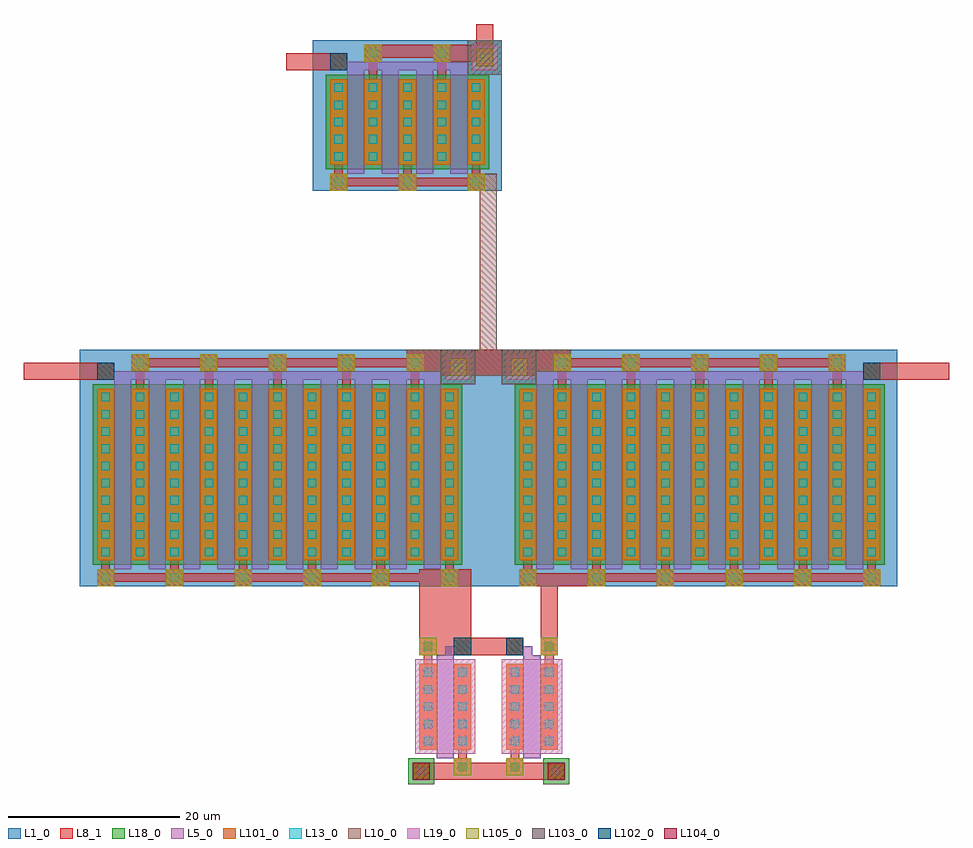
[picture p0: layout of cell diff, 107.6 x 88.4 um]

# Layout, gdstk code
from math import pi, radians
import gdstk
lib = gdstk.Library(unit=1e-6, precision=1e-07)
def R(c, l, rs):  # rectangles x0, y0, x1, y1
    for r in rs: c.add(gdstk.rectangle(r[:2], r[2:], *l))
def P(c, l, *ps):  # polygons
    for p in ps: c.add(gdstk.Polygon(p, *l))
L1_0 = (1, 0)
L5_0 = (5, 0)
L8_1 = (8, 1)
L10_0 = (10, 0)
L13_0 = (13, 0)
L18_0 = (18, 0)
L19_0 = (19, 0)
L101_0 = (101, 0)
L102_0 = (102, 0)
L103_0 = (103, 0)
L104_0 = (104, 0)
L105_0 = (105, 0)

dcont = lib.new_cell('dcont')
R(dcont, L8_1, [(-1,-1,1,1)])
R(dcont, L13_0, [(-0.5,-0.5,0.5,0.5)])
R(dcont, L101_0, [(-1,-1,1,1)])

via = lib.new_cell('Via')
R(via, L8_1, [(-1,-1,1,1)])
R(via, L10_0, [(-1,-1,1,1)])
R(via, L13_0, [(-0.5,-0.5,0.5,0.5)])
R(via, L105_0, [(-1,-1,1,1)])

dcont1 = lib.new_cell('dcont1')
R(dcont1, L8_1, [(-1,-1,1,1)])
R(dcont1, L13_0, [(-0.5,-0.5,0.5,0.5)])
R(dcont1, L101_0, [(-1,-1,1,1)])

nsubcont = lib.new_cell('nsubcont')
R(nsubcont, L1_0, [(-2,-2,2,2)])
R(nsubcont, L19_0, [(-1.5,-1.5,1.5,1.5)])
R(nsubcont, L103_0, [(-2,-2,2,2)])
nsubcont.add(gdstk.Reference(dcont1, (0,0)))

pch_2 = lib.new_cell('Pch$2')
R(pch_2, L1_0, [(-2,-1.5,20,16)])
R(pch_2, L5_0, [(0,0,2,2)])
R(pch_2, L8_1, [(0,0,2,2)])
P(pch_2, L8_1, [(4.5,-0.5),(4.5,3),(4,3),(4,13),(6,13),(6,3),(5.5,3),(5.5,0.5),(12.5,0.5),(12.5,3),(12,3),(12,13),(14,13),(14,3),(13.5,3),(13.5,-0.5)],
  [(0,3),(0,13),(0.5,13),(0.5,15.5),(17.5,15.5),(17.5,13),(18,13),(18,3),(16,3),(16,13),(16.5,13),(16.5,14.5),(9.5,14.5),(9.5,13),(10,13),(10,3),(8,3),(8,13),(8.5,13),(8.5,14.5),(1.5,14.5),(1.5,13),(2,13),(2,3)])
R(pch_2, L13_0, [(0.5,0.5,1.5,1.5)])
R(pch_2, L18_0, [(-0.5,2.5,18.5,13.5)])
R(pch_2, L102_0, [(0,0,2,2)])
pch_2.add(gdstk.FlexPath([(3,3),(3,13)], 2, ends="extended", simple_path=True, layer=5, datatype=0))  # L5_0
pch_2.add(gdstk.FlexPath([(7,3),(7,13)], 2, ends="extended", simple_path=True, layer=5, datatype=0))  # L5_0
pch_2.add(gdstk.FlexPath([(11,3),(11,13)], 2, ends="extended", simple_path=True, layer=5, datatype=0))  # L5_0
pch_2.add(gdstk.FlexPath([(15,3),(15,13)], 2, ends="extended", simple_path=True, layer=5, datatype=0))  # L5_0
pch_2.add(gdstk.FlexPath([(1,1.5),(2.5,1.5),(2.5,2)], 1, ends="flush", simple_path=True, layer=5, datatype=0))  # L5_0
pch_2.add(gdstk.FlexPath([(2,1.5),(8,1.5)], 1, ends="flush", simple_path=True, layer=5, datatype=0))  # L5_0
pch_2.add(gdstk.FlexPath([(6,1.5),(12,1.5)], 1, ends="flush", simple_path=True, layer=5, datatype=0))  # L5_0
pch_2.add(gdstk.FlexPath([(10,1.5),(16,1.5)], 1, ends="flush", simple_path=True, layer=5, datatype=0))  # L5_0
pch_2.add(gdstk.Reference(dcont, (1,4)))
pch_2.add(gdstk.Reference(dcont, (1,6)))
pch_2.add(gdstk.Reference(dcont, (1,8)))
pch_2.add(gdstk.Reference(dcont, (1,10)))
pch_2.add(gdstk.Reference(dcont, (1,12)))
pch_2.add(gdstk.Reference(dcont, (5,4)))
pch_2.add(gdstk.Reference(dcont, (5,6)))
pch_2.add(gdstk.Reference(dcont, (5,8)))
pch_2.add(gdstk.Reference(dcont, (5,10)))
pch_2.add(gdstk.Reference(dcont, (5,12)))
pch_2.add(gdstk.Reference(dcont, (9,4)))
pch_2.add(gdstk.Reference(dcont, (9,6)))
pch_2.add(gdstk.Reference(dcont, (9,8)))
pch_2.add(gdstk.Reference(dcont, (9,10)))
pch_2.add(gdstk.Reference(dcont, (9,12)))
pch_2.add(gdstk.Reference(dcont, (13,4)))
pch_2.add(gdstk.Reference(dcont, (13,6)))
pch_2.add(gdstk.Reference(dcont, (13,8)))
pch_2.add(gdstk.Reference(dcont, (13,10)))
pch_2.add(gdstk.Reference(dcont, (13,12)))
pch_2.add(gdstk.Reference(dcont, (17,4)))
pch_2.add(gdstk.Reference(dcont, (17,6)))
pch_2.add(gdstk.Reference(dcont, (17,8)))
pch_2.add(gdstk.Reference(dcont, (17,10)))
pch_2.add(gdstk.Reference(dcont, (17,12)))
pch_2.add(gdstk.Reference(via, (1,1)))
pch_2.add(gdstk.Reference(via, (1,15)))
pch_2.add(gdstk.Reference(via, (5,0)))
pch_2.add(gdstk.Reference(via, (9,15)))
pch_2.add(gdstk.Reference(via, (13,0)))
pch_2.add(gdstk.Reference(via, (17,15)))
pch_2.add(gdstk.Reference(nsubcont, (18,0.5)))
pch_2.add(gdstk.Reference(via, (18,0.5)))

pch_6 = lib.new_cell('Pch$6')
R(pch_6, L1_0, [(-2,-1.5,44,26)])
R(pch_6, L5_0, [(0,0,2,2)])
R(pch_6, L8_1, [(0,0,2,2)])
P(pch_6, L8_1, [(4.5,-0.5),(4.5,3),(4,3),(4,23),(6,23),(6,3),(5.5,3),(5.5,0.5),(12.5,0.5),(12.5,3),(12,3),(12,23),(14,23),(14,3),(13.5,3),(13.5,0.5),(20.5,0.5),(20.5,3),(20,3),(20,23),(22,23),(22,3),(21.5,3),(21.5,0.5),(28.5,0.5),(28.5,3),(28,3),(28,23),(30,23),(30,3),(29.5,3),(29.5,0.5),(36.5,0.5),(36.5,3),(36,3),(36,23),(38,23),(38,3),(37.5,3),(37.5,-0.5)],
  [(0,3),(0,23),(0.5,23),(0.5,25.5),(41.5,25.5),(41.5,23),(42,23),(42,3),(40,3),(40,23),(40.5,23),(40.5,24.5),(33.5,24.5),(33.5,23),(34,23),(34,3),(32,3),(32,23),(32.5,23),(32.5,24.5),(25.5,24.5),(25.5,23),(26,23),(26,3),(24,3),(24,23),(24.5,23),(24.5,24.5),(17.5,24.5),(17.5,23),(18,23),(18,3),(16,3),(16,23),(16.5,23),(16.5,24.5),(9.5,24.5),(9.5,23),(10,23),(10,3),(8,3),(8,23),(8.5,23),(8.5,24.5),(1.5,24.5),(1.5,23),(2,23),(2,3)])
R(pch_6, L13_0, [(0.5,0.5,1.5,1.5)])
R(pch_6, L18_0, [(-0.5,2.5,42.5,23.5)])
R(pch_6, L102_0, [(0,0,2,2)])
pch_6.add(gdstk.FlexPath([(3,3),(3,23)], 2, ends="extended", simple_path=True, layer=5, datatype=0))  # L5_0
pch_6.add(gdstk.FlexPath([(7,3),(7,23)], 2, ends="extended", simple_path=True, layer=5, datatype=0))  # L5_0
pch_6.add(gdstk.FlexPath([(11,3),(11,23)], 2, ends="extended", simple_path=True, layer=5, datatype=0))  # L5_0
pch_6.add(gdstk.FlexPath([(15,3),(15,23)], 2, ends="extended", simple_path=True, layer=5, datatype=0))  # L5_0
pch_6.add(gdstk.FlexPath([(19,3),(19,23)], 2, ends="extended", simple_path=True, layer=5, datatype=0))  # L5_0
pch_6.add(gdstk.FlexPath([(23,3),(23,23)], 2, ends="extended", simple_path=True, layer=5, datatype=0))  # L5_0
pch_6.add(gdstk.FlexPath([(27,3),(27,23)], 2, ends="extended", simple_path=True, layer=5, datatype=0))  # L5_0
pch_6.add(gdstk.FlexPath([(31,3),(31,23)], 2, ends="extended", simple_path=True, layer=5, datatype=0))  # L5_0
pch_6.add(gdstk.FlexPath([(35,3),(35,23)], 2, ends="extended", simple_path=True, layer=5, datatype=0))  # L5_0
pch_6.add(gdstk.FlexPath([(39,3),(39,23)], 2, ends="extended", simple_path=True, layer=5, datatype=0))  # L5_0
pch_6.add(gdstk.FlexPath([(1,1.5),(2.5,1.5),(2.5,2)], 1, ends="flush", simple_path=True, layer=5, datatype=0))  # L5_0
pch_6.add(gdstk.FlexPath([(2,1.5),(8,1.5)], 1, ends="flush", simple_path=True, layer=5, datatype=0))  # L5_0
pch_6.add(gdstk.FlexPath([(6,1.5),(12,1.5)], 1, ends="flush", simple_path=True, layer=5, datatype=0))  # L5_0
pch_6.add(gdstk.FlexPath([(10,1.5),(16,1.5)], 1, ends="flush", simple_path=True, layer=5, datatype=0))  # L5_0
pch_6.add(gdstk.FlexPath([(14,1.5),(20,1.5)], 1, ends="flush", simple_path=True, layer=5, datatype=0))  # L5_0
pch_6.add(gdstk.FlexPath([(18,1.5),(24,1.5)], 1, ends="flush", simple_path=True, layer=5, datatype=0))  # L5_0
pch_6.add(gdstk.FlexPath([(22,1.5),(28,1.5)], 1, ends="flush", simple_path=True, layer=5, datatype=0))  # L5_0
pch_6.add(gdstk.FlexPath([(26,1.5),(32,1.5)], 1, ends="flush", simple_path=True, layer=5, datatype=0))  # L5_0
pch_6.add(gdstk.FlexPath([(30,1.5),(36,1.5)], 1, ends="flush", simple_path=True, layer=5, datatype=0))  # L5_0
pch_6.add(gdstk.FlexPath([(34,1.5),(40,1.5)], 1, ends="flush", simple_path=True, layer=5, datatype=0))  # L5_0
pch_6.add(gdstk.Reference(dcont, (1,12)))
pch_6.add(gdstk.Reference(dcont, (5,12)))
pch_6.add(gdstk.Reference(dcont, (9,12)))
pch_6.add(gdstk.Reference(dcont, (13,12)))
pch_6.add(gdstk.Reference(dcont, (17,12)))
pch_6.add(gdstk.Reference(dcont, (21,12)))
pch_6.add(gdstk.Reference(dcont, (25,12)))
pch_6.add(gdstk.Reference(dcont, (29,12)))
pch_6.add(gdstk.Reference(dcont, (33,12)))
pch_6.add(gdstk.Reference(dcont, (37,12)))
pch_6.add(gdstk.Reference(dcont, (41,12)))
pch_6.add(gdstk.Reference(dcont, (25,22)))
pch_6.add(gdstk.Reference(dcont, (25,14)))
pch_6.add(gdstk.Reference(dcont, (29,14)))
pch_6.add(gdstk.Reference(dcont, (29,16)))
pch_6.add(gdstk.Reference(dcont, (29,18)))
pch_6.add(gdstk.Reference(dcont, (29,20)))
pch_6.add(gdstk.Reference(dcont, (29,22)))
pch_6.add(gdstk.Reference(dcont, (25,16)))
pch_6.add(gdstk.Reference(dcont, (33,14)))
pch_6.add(gdstk.Reference(dcont, (33,16)))
pch_6.add(gdstk.Reference(dcont, (33,18)))
pch_6.add(gdstk.Reference(dcont, (33,20)))
pch_6.add(gdstk.Reference(dcont, (33,22)))
pch_6.add(gdstk.Reference(dcont, (25,18)))
pch_6.add(gdstk.Reference(dcont, (37,14)))
pch_6.add(gdstk.Reference(dcont, (37,16)))
pch_6.add(gdstk.Reference(dcont, (37,18)))
pch_6.add(gdstk.Reference(dcont, (37,20)))
pch_6.add(gdstk.Reference(dcont, (37,22)))
pch_6.add(gdstk.Reference(dcont, (25,20)))
pch_6.add(gdstk.Reference(dcont, (41,14)))
pch_6.add(gdstk.Reference(dcont, (41,16)))
pch_6.add(gdstk.Reference(dcont, (41,18)))
pch_6.add(gdstk.Reference(dcont, (41,20)))
pch_6.add(gdstk.Reference(dcont, (41,22)))
pch_6.add(gdstk.Reference(via, (25,25)))
pch_6.add(gdstk.Reference(via, (33,25)))
pch_6.add(gdstk.Reference(via, (41,25)))
pch_6.add(gdstk.Reference(dcont, (5,18)))
pch_6.add(gdstk.Reference(dcont, (5,20)))
pch_6.add(gdstk.Reference(dcont, (5,22)))
pch_6.add(gdstk.Reference(dcont, (1,16)))
pch_6.add(gdstk.Reference(dcont, (9,14)))
pch_6.add(gdstk.Reference(dcont, (9,16)))
pch_6.add(gdstk.Reference(dcont, (9,18)))
pch_6.add(gdstk.Reference(dcont, (9,20)))
pch_6.add(gdstk.Reference(dcont, (9,22)))
pch_6.add(gdstk.Reference(dcont, (1,18)))
pch_6.add(gdstk.Reference(dcont, (13,14)))
pch_6.add(gdstk.Reference(dcont, (13,16)))
pch_6.add(gdstk.Reference(dcont, (13,18)))
pch_6.add(gdstk.Reference(dcont, (13,20)))
pch_6.add(gdstk.Reference(dcont, (13,22)))
pch_6.add(gdstk.Reference(dcont, (1,20)))
pch_6.add(gdstk.Reference(dcont, (17,14)))
pch_6.add(gdstk.Reference(dcont, (17,16)))
pch_6.add(gdstk.Reference(dcont, (17,18)))
pch_6.add(gdstk.Reference(dcont, (17,20)))
pch_6.add(gdstk.Reference(dcont, (17,22)))
pch_6.add(gdstk.Reference(dcont, (1,22)))
pch_6.add(gdstk.Reference(dcont, (21,14)))
pch_6.add(gdstk.Reference(dcont, (21,16)))
pch_6.add(gdstk.Reference(dcont, (21,18)))
pch_6.add(gdstk.Reference(dcont, (21,20)))
pch_6.add(gdstk.Reference(dcont, (21,22)))
pch_6.add(gdstk.Reference(via, (1,25)))
pch_6.add(gdstk.Reference(via, (9,25)))
pch_6.add(gdstk.Reference(via, (17,25)))
pch_6.add(gdstk.Reference(dcont, (1,14)))
pch_6.add(gdstk.Reference(dcont, (5,14)))
pch_6.add(gdstk.Reference(dcont, (5,16)))
pch_6.add(gdstk.Reference(dcont, (1,4)))
pch_6.add(gdstk.Reference(dcont, (1,6)))
pch_6.add(gdstk.Reference(dcont, (21,4)))
pch_6.add(gdstk.Reference(dcont, (21,6)))
pch_6.add(gdstk.Reference(dcont, (21,8)))
pch_6.add(gdstk.Reference(dcont, (21,10)))
pch_6.add(gdstk.Reference(dcont, (13,4)))
pch_6.add(gdstk.Reference(dcont, (13,6)))
pch_6.add(gdstk.Reference(dcont, (13,8)))
pch_6.add(gdstk.Reference(dcont, (13,10)))
pch_6.add(gdstk.Reference(dcont, (5,4)))
pch_6.add(gdstk.Reference(dcont, (5,6)))
pch_6.add(gdstk.Reference(dcont, (9,4)))
pch_6.add(gdstk.Reference(dcont, (9,6)))
pch_6.add(gdstk.Reference(dcont, (9,8)))
pch_6.add(gdstk.Reference(dcont, (9,10)))
pch_6.add(gdstk.Reference(dcont, (17,4)))
pch_6.add(gdstk.Reference(dcont, (17,6)))
pch_6.add(gdstk.Reference(via, (1,1)))
pch_6.add(gdstk.Reference(dcont, (17,8)))
pch_6.add(gdstk.Reference(via, (5,0)))
pch_6.add(gdstk.Reference(dcont, (17,10)))
pch_6.add(gdstk.Reference(via, (13,0)))
pch_6.add(gdstk.Reference(dcont, (5,8)))
pch_6.add(gdstk.Reference(via, (21,0)))
pch_6.add(gdstk.Reference(dcont, (5,10)))
pch_6.add(gdstk.Reference(dcont, (1,8)))
pch_6.add(gdstk.Reference(dcont, (1,10)))
pch_6.add(gdstk.Reference(dcont, (41,6)))
pch_6.add(gdstk.Reference(dcont, (41,8)))
pch_6.add(gdstk.Reference(dcont, (41,10)))
pch_6.add(gdstk.Reference(dcont, (29,8)))
pch_6.add(gdstk.Reference(dcont, (29,10)))
pch_6.add(gdstk.Reference(dcont, (25,8)))
pch_6.add(gdstk.Reference(dcont, (25,10)))
pch_6.add(gdstk.Reference(dcont, (25,4)))
pch_6.add(gdstk.Reference(dcont, (25,6)))
pch_6.add(gdstk.Reference(dcont, (37,4)))
pch_6.add(gdstk.Reference(dcont, (37,6)))
pch_6.add(gdstk.Reference(dcont, (37,8)))
pch_6.add(gdstk.Reference(dcont, (37,10)))
pch_6.add(gdstk.Reference(dcont, (29,4)))
pch_6.add(gdstk.Reference(dcont, (29,6)))
pch_6.add(gdstk.Reference(dcont, (33,4)))
pch_6.add(gdstk.Reference(dcont, (33,6)))
pch_6.add(gdstk.Reference(dcont, (33,8)))
pch_6.add(gdstk.Reference(via, (29,0)))
pch_6.add(gdstk.Reference(dcont, (33,10)))
pch_6.add(gdstk.Reference(via, (37,0)))
pch_6.add(gdstk.Reference(dcont, (41,4)))
pch_6.add(gdstk.Reference(nsubcont, (42,0.5)))
pch_6.add(gdstk.Reference(via, (42,0.5)))

psubcont = lib.new_cell('psubcont')
R(psubcont, L18_0, [(-1.5,-1.5,1.5,1.5)])
R(psubcont, L104_0, [(-1,-1,1,1)])
psubcont.add(gdstk.Reference(dcont1, (0,0)))

nch = lib.new_cell('Nch')
R(nch, L5_0, [(0,14,2,16)])
R(nch, L8_1, [(0,14,2,16)])
P(nch, L8_1, [(0.5,1),(0.5,3),(0,3),(0,13),(2,13),(2,3),(1.5,3),(1.5,1)],
  [(4,3),(4,13),(4.5,13),(4.5,15),(5.5,15),(5.5,13),(6,13),(6,3)])
R(nch, L13_0, [(0.5,14.5,1.5,15.5)])
R(nch, L19_0, [(-0.5,2.5,6.5,13.5)])
R(nch, L102_0, [(0,14,2,16)])
nch.add(gdstk.FlexPath([(3,3),(3,13)], 2, ends="extended", simple_path=True, layer=5, datatype=0))  # L5_0
nch.add(gdstk.FlexPath([(1,14.5),(2.5,14.5),(2.5,14)], 1, ends="flush", simple_path=True, layer=5, datatype=0))  # L5_0
nch.add(gdstk.Reference(dcont, (1,4)))
nch.add(gdstk.Reference(dcont, (1,6)))
nch.add(gdstk.Reference(dcont, (1,8)))
nch.add(gdstk.Reference(dcont, (1,10)))
nch.add(gdstk.Reference(dcont, (1,12)))
nch.add(gdstk.Reference(dcont, (5,4)))
nch.add(gdstk.Reference(dcont, (5,6)))
nch.add(gdstk.Reference(dcont, (5,8)))
nch.add(gdstk.Reference(dcont, (5,10)))
nch.add(gdstk.Reference(dcont, (5,12)))
nch.add(gdstk.Reference(via, (1,15)))
nch.add(gdstk.Reference(via, (1,1)))
nch.add(gdstk.Reference(via, (5,15)))
nch.add(gdstk.Reference(psubcont, (5.8,0.5)))
nch.add(gdstk.Reference(via, (5.8,0.5)))

diff = lib.new_cell('diff')
R(diff, L1_0, [(209.9,23.5,213,51)])
R(diff, L8_1, [(202.6,1,220.3,3), (157.4,47.5,167.9,49.5), (255,47.5,265,49.5), (187.9,83.5,195,85.5), (199,86,205,86.5)])
P(diff, L8_1, [(217.5,16.5),(217.5,23.5),(215.5,23.5),(215.5,25),(223.5,25),(223.5,23.5),(219.5,23.5),(219.5,16.5)],
  [(203.4,15.5),(203.4,25.5),(209.4,25.5),(209.4,17.5),(215.5,17.5),(215.5,15.5)],
  [(205.9,48),(205.9,48.5),(201.9,48.5),(201.9,51),(221,51),(221,48.5),(217,48.5),(217,48)],
  [(206,84.5),(206,86.5),(210,86.5),(210,88.9),(212,88.9),(212,84.5)])
R(diff, L10_0, [(205.9,48,217,51), (201.9,48.5,221,51)])
diff.add(gdstk.FlexPath([(209,70.5),(211.4,70.5),(211.4,48.5)], 2, ends="flush", simple_path=True, layer=10, datatype=0))  # L10_0
diff.add(gdstk.Reference(pch_2, (193,85.5), x_reflection=True))
diff.add(gdstk.Reference(pch_6, (165.9,49.5), x_reflection=True))
diff.add(gdstk.Reference(pch_6, (257,49.5), rotation=pi))
diff.add(gdstk.Reference(nch, (213.5,1.5)))
diff.add(gdstk.Reference(nch, (209.4,1.5), rotation=pi, x_reflection=True))

lib.write_gds('diff.gds')
